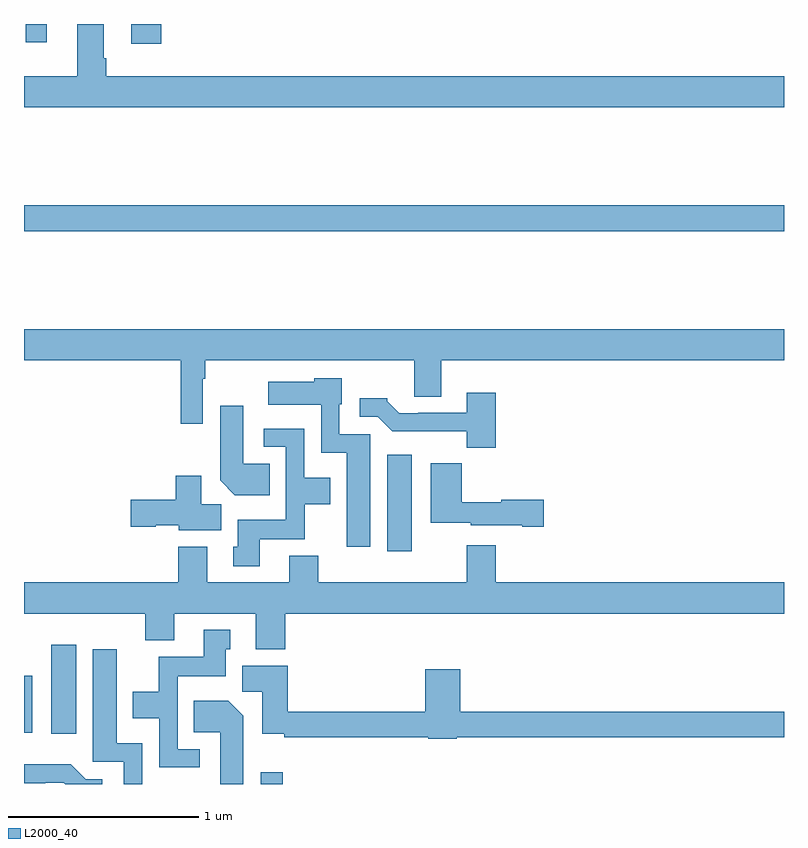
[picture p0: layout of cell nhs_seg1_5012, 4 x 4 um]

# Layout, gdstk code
import gdstk
lib = gdstk.Library(unit=1e-6, precision=1e-09)
def R(c, l, rs):  # rectangles x0, y0, x1, y1
    for r in rs: c.add(gdstk.rectangle(r[:2], r[2:], *l))
def P(c, l, *ps):  # polygons
    for p in ps: c.add(gdstk.Polygon(p, *l))
L2000_40 = (2000, 40)

nhs_seg1_5012 = lib.new_cell('nhs_seg1_5012')
R(nhs_seg1_5012, L2000_40, [(384.246,520.199,384.362,520.261), (383.144,520.464,383.275,520.933), (383,520.469,383.044,520.77), (384.911,521.424,385.042,521.932), (383,523.108,387,523.244), (383.564,524.094,383.723,524.199), (383.009,524.103,383.119,524.199)])
P(nhs_seg1_5012, L2000_40, [(387,523.924),(383.432,523.924),(383.432,524.02),(383.419,524.02),(383.419,524.199),(383.279,524.199),(383.279,523.924),(383,523.924),(383,523.76),(387,523.76)],
  [(383.94,522.332),(383.953,522.332),(383.953,522.428),(385.055,522.428),(385.055,522.238),(385.195,522.238),(385.195,522.428),(387,522.428),(387,522.592),(383,522.592),(383,522.428),(383.824,522.428),(383.824,522.096),(383.94,522.096)],
  [(384.823,522.039),(384.66,522.039),(384.66,522.198),(384.673,522.198),(384.673,522.334),(384.528,522.334),(384.528,522.316),(384.285,522.316),(384.285,522.194),(384.564,522.194),(384.564,521.942),(384.698,521.942),(384.698,521.448),(384.823,521.448)],
  [(385.484,522.259),(385.331,522.259),(385.331,522.153),(385.075,522.153),(385.075,522.15),(384.976,522.15),(384.912,522.214),(384.912,522.229),(384.768,522.229),(384.768,522.132),(384.861,522.132),(384.937,522.056),(385.329,522.056),(385.329,521.969),(385.484,521.969)],
  [(384.293,521.884),(384.154,521.884),(384.154,522.19),(384.032,522.19),(384.032,521.798),(384.11,521.72),(384.293,521.72)],
  [(384.241,521.486),(384.477,521.486),(384.477,521.672),(384.613,521.672),(384.613,521.812),(384.474,521.812),(384.474,522.069),(384.261,522.069),(384.261,521.973),(384.378,521.973),(384.378,521.59),(384.125,521.59),(384.125,521.448),(384.101,521.448),(384.101,521.346),(384.241,521.346)],
  [(385.735,521.696),(385.512,521.696),(385.512,521.683),(385.304,521.683),(385.304,521.887),(385.142,521.887),(385.142,521.573),(385.35,521.573),(385.35,521.561),(385.622,521.561),(385.622,521.554),(385.735,521.554)],
  [(384.037,521.672),(383.932,521.672),(383.932,521.821),(383.798,521.821),(383.798,521.696),(383.562,521.696),(383.562,521.554),(383.694,521.554),(383.694,521.561),(383.814,521.561),(383.814,521.534),(384.037,521.534)],
  [(384.374,521.096),(387,521.096),(387,521.26),(385.484,521.26),(385.484,521.455),(385.331,521.455),(385.331,521.26),(384.548,521.26),(384.548,521.401),(384.395,521.401),(384.395,521.26),(383.965,521.26),(383.965,521.449),(383.813,521.449),(383.813,521.26),(383,521.26),(383,521.096),(383.639,521.096),(383.639,520.955),(383.791,520.955),(383.791,521.096),(384.221,521.096),(384.221,520.907),(384.374,520.907)],
  [(383.926,520.383),(383.808,520.383),(383.808,520.766),(384.061,520.766),(384.061,520.908),(384.085,520.908),(384.085,521.011),(383.945,521.011),(383.945,520.87),(383.71,520.87),(383.71,520.684),(383.573,520.684),(383.573,520.544),(383.712,520.544),(383.712,520.287),(383.926,520.287)],
  [(383.622,520.414),(383.488,520.414),(383.488,520.909),(383.363,520.909),(383.363,520.317),(383.526,520.317),(383.526,520.199),(383.622,520.199)],
  [(385.278,520.444),(387,520.444),(387,520.58),(385.295,520.58),(385.295,520.804),(385.112,520.804),(385.112,520.58),(384.389,520.58),(384.389,520.822),(384.149,520.822),(384.149,520.684),(384.254,520.684),(384.254,520.463),(384.37,520.463),(384.37,520.444),(385.128,520.444),(385.128,520.436),(385.278,520.436)],
  [(384.154,520.558),(384.076,520.636),(383.893,520.636),(383.893,520.472),(384.032,520.472),(384.032,520.199),(384.154,520.199)],
  [(383.413,520.224),(383.325,520.224),(383.247,520.303),(383,520.303),(383,520.203),(383.111,520.203),(383.111,520.206),(383.21,520.206),(383.217,520.199),(383.413,520.199)])

lib.write_gds('nhs_seg1_5012.gds')
